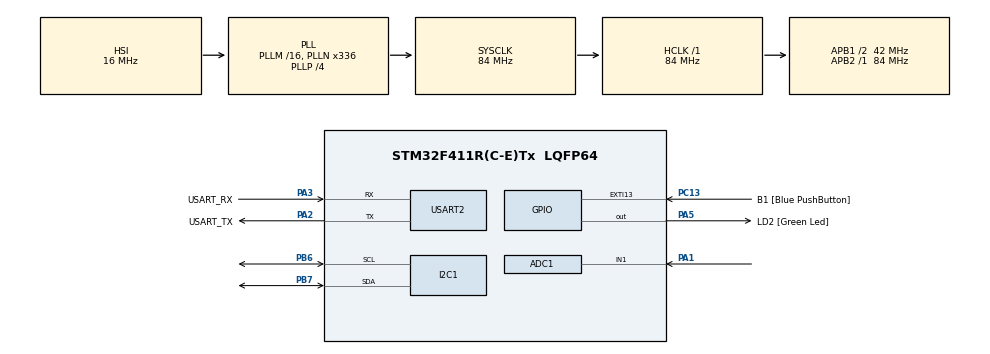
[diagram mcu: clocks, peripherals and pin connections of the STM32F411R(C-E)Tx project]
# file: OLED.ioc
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ADC1.Channel-3\#ChannelRegularConversion=ADC_CHANNEL_1
ADC1.NbrOfConversionFlag=1
ADC1.Rank-3\#ChannelRegularConversion=1
ADC1.SamplingTime-3\#ChannelRegularConversion=ADC_SAMPLETIME_15CYCLES
ADC1.master=1
I2C1.I2C_Mode=I2C_Fast
Mcu.Family=STM32F4
Mcu.Name=STM32F411R(C-E)Tx
Mcu.Package=LQFP64
NVIC.PriorityGroup=NVIC_PRIORITYGROUP_0
PA1.Signal=ADCx_IN1
PA13.GPIO_Label=TMS
PA13.Mode=Serial_Wire
PA13.Signal=SYS_JTMS-SWDIO
PA14.GPIO_Label=TCK
PA14.Mode=Serial_Wire
PA14.Signal=SYS_JTCK-SWCLK
PA2.GPIO_Label=USART_TX
PA2.Mode=Asynchronous
PA2.Signal=USART2_TX
PA3.GPIO_Label=USART_RX
PA3.Mode=Asynchronous
PA3.Signal=USART2_RX
PA5.GPIO_Label=LD2 [Green Led]
PA5.Signal=GPIO_Output
PB3.GPIO_Label=SWO
PB3.Signal=SYS_JTDO-SWO
PB6.Mode=I2C
PB6.Signal=I2C1_SCL
PB7.Mode=I2C
PB7.Signal=I2C1_SDA
PC13-ANTI_TAMP.GPIO_Label=B1 [Blue PushButton]
PC13-ANTI_TAMP.GPIO_ModeDefaultEXTI=GPIO_MODE_IT_FALLING
PC13-ANTI_TAMP.Signal=GPXTI13
PC14-OSC32_IN.Mode=LSE-External-Oscillator
PC14-OSC32_IN.Signal=RCC_OSC32_IN
PC15-OSC32_OUT.Mode=LSE-External-Oscillator
PC15-OSC32_OUT.Signal=RCC_OSC32_OUT
PH0\ -\ OSC_IN.Mode=HSE-External-Clock-Source
PH0\ -\ OSC_IN.Signal=RCC_OSC_IN
PH1\ -\ OSC_OUT.Mode=HSE-External-Clock-Source
PH1\ -\ OSC_OUT.Signal=RCC_OSC_OUT
ProjectManager.HeapSize=0x200
ProjectManager.StackSize=0x400
ProjectManager.TargetToolchain=CMake
RCC.48MHZClocksFreq_Value=84000000
RCC.AHBFreq_Value=84000000
RCC.APB1CLKDivider=RCC_HCLK_DIV2
RCC.APB1Freq_Value=42000000
RCC.APB1TimFreq_Value=84000000
RCC.APB2Freq_Value=84000000
RCC.APB2TimFreq_Value=84000000
RCC.CortexFreq_Value=84000000
RCC.FLatency-AdvancedSettings=FLASH_LATENCY_2
RCC.HCLKFreq_Value=84000000
RCC.HSE_VALUE=8000000
RCC.HSI_VALUE=16000000
RCC.PLLN=336
RCC.PLLP=RCC_PLLP_DIV4
RCC.SYSCLKFreq_VALUE=84000000
RCC.SYSCLKSource=RCC_SYSCLKSOURCE_PLLCLK
RCC.VCOOutputFreq_Value=336000000
SH.ADCx_IN1.0=ADC1_IN1,IN1
USART2.VirtualMode=VM_ASYNC
board=NUCLEO-F411RE

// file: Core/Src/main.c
/* USER CODE BEGIN Header */
/**
  ******************************************************************************
  * @file           : main.c
  * @brief          : Main program body
  ******************************************************************************
  * @attention
  *
  * Copyright (c) 2026 STMicroelectronics.
  * All rights reserved.
  *
  * This software is licensed under terms that can be found in the LICENSE file
  * in the root directory of this software component.
  * If no LICENSE file comes with this software, it is provided AS-IS.
  *
  ******************************************************************************
  */
/* USER CODE END Header */
#include "main.h"

/* USER CODE BEGIN Includes */
#include "ssd1306.h"
#include "ssd1306_tests.h"
#include "ssd1306_fonts.h"
#include <stdio.h>
/* USER CODE END Includes */

ADC_HandleTypeDef hadc1;

I2C_HandleTypeDef hi2c1;

UART_HandleTypeDef huart2;

/* USER CODE BEGIN PV */
uint32_t last_beat_time = 0;
float intervals[10] = {0};
float smoothed_val = 0;
float previous_val = 0;
int rise_count = 0;
int is_rising = 0;

/* USER CODE END PV */

void SystemClock_Config(void);
static void MX_GPIO_Init(void);
static void MX_USART2_UART_Init(void);
static void MX_I2C1_Init(void);
static void MX_ADC1_Init(void);

int main(void)
{

  /* MCU Configuration--------------------------------------------------------*/

  /* Reset of all peripherals, Initializes the Flash interface and the Systick. */
  HAL_Init();

  /* Configure the system clock */
  SystemClock_Config();

  /* Initialize all configured peripherals */
  MX_GPIO_Init();
  MX_USART2_UART_Init();
  MX_I2C1_Init();
  MX_ADC1_Init();
  /* USER CODE BEGIN 2 */
  ssd1306_Init();
  ssd1306_TestDrawBitmap();
  HAL_Delay(300);
  ssd1306_Fill(Black);
  ssd1306_SetCursor(0, 10);
  ssd1306_WriteString("Heart Rate Monitor", Font_7x10, White);

  ssd1306_SetCursor(42, 30);
  ssd1306_WriteString(".", Font_11x18, White);
  ssd1306_UpdateScreen();
  HAL_Delay(500);

  ssd1306_SetCursor(62, 30);
  ssd1306_WriteString(".", Font_11x18, White);
  ssd1306_UpdateScreen();
  HAL_Delay(500);

  ssd1306_SetCursor(82, 30);
  ssd1306_WriteString(".", Font_11x18, White);
  ssd1306_UpdateScreen();
  HAL_Delay(500);

  ssd1306_Fill(Black);
  ssd1306_SetCursor(0, 30);
  ssd1306_WriteString("Initializing...", Font_7x10, White);
  ssd1306_UpdateScreen();
  HAL_Delay(500);
  /* USER CODE END 2 */

  /* Infinite loop */
  while (1)
  {

    /* Inside the while(1) loop */
    //This code is for the Heart Rate Monitor. It reads the ADC value from the pulse sensor, applies filtering and smoothing, detects peaks, calculates BPM, and updates the OLED display.
    // 1. FILTERING: Average samples over 20ms to kill 50Hz/60Hz light flicker
    uint32_t window_start = HAL_GetTick();
    float raw_sum = 0;
    int samples = 0;
    while (HAL_GetTick() - window_start < 20) {
        HAL_ADC_Start(&hadc1);
        if (HAL_ADC_PollForConversion(&hadc1, 1) == HAL_OK) {
            raw_sum += HAL_ADC_GetValue(&hadc1);
            samples++;
        }
    }
    float current_avg = raw_sum / samples;

    // 2. SMOOTHING: Simple Low-Pass Filter (Adjust 0.1 for more/less smoothing)
    // This prevents small jitters from being counted as heartbeats
    smoothed_val = (0.1 * current_avg) + (0.9 * previous_val);

    // 3. PEAK DETECTION: Look for a rising edge
    if (smoothed_val > previous_val) {
        rise_count++;

        // If signal rises for 5 consecutive 20ms blocks, it's a heartbeat
        if (!is_rising && rise_count > 3) {
            uint32_t current_time = HAL_GetTick();
            uint32_t duration = current_time - last_beat_time;

          // Change your PV section to: float intervals[10];
        if(duration > 2000){
          last_beat_time = current_time;
          is_rising = 1;
        }
        else if (duration > 333 && duration < 1333) { // Ignore intervals that are too short or too long to be a heartbeat
            is_rising = 1;
            last_beat_time = current_time;

            // 1. Shift intervals (Moving Average)
            float sum = 0;
            for (int i = 9; i > 0; i--) {
                intervals[i] = intervals[i-1];
                sum += intervals[i];
            }
            intervals[0] = (float)duration;
            sum += intervals[0];

            float average_interval = sum / 10.0;
            float bpm = 60000.0 / average_interval;

            // 2. ONLY update the screen if the change isn't a crazy "glitch"
            // (e.g., if the new BPM is within 20% of the last one displayed)

            // Calculate BPM

            static int display_counter = 0;
            display_counter++;
            if (display_counter>=2) {
                char display_buffer[16];
                sprintf(display_buffer, "HR: %d BPM", (int)bpm);
                ssd1306_Fill(Black);
                ssd1306_SetCursor(0, 30);
                ssd1306_WriteString(display_buffer, Font_11x18, White);
                ssd1306_UpdateScreen();
                display_counter = 0;
            }
        }
      }
    } else {
        // Signal is falling, reset the lock
        is_rising = 0;
        rise_count = 0;
    }

    previous_val = smoothed_val;
  }
}

void SystemClock_Config(void)
{
  RCC_OscInitTypeDef RCC_OscInitStruct = {0};
  RCC_ClkInitTypeDef RCC_ClkInitStruct = {0};

  /** Configure the main internal regulator output voltage
  */
  __HAL_RCC_PWR_CLK_ENABLE();
  __HAL_PWR_VOLTAGESCALING_CONFIG(PWR_REGULATOR_VOLTAGE_SCALE1);

  /** Initializes the RCC Oscillators according to the specified parameters
  * in the RCC_OscInitTypeDef structure.
  */
  RCC_OscInitStruct.OscillatorType = RCC_OSCILLATORTYPE_HSI;
  RCC_OscInitStruct.HSIState = RCC_HSI_ON;
  RCC_OscInitStruct.HSICalibrationValue = RCC_HSICALIBRATION_DEFAULT;
  RCC_OscInitStruct.PLL.PLLState = RCC_PLL_ON;
  RCC_OscInitStruct.PLL.PLLSource = RCC_PLLSOURCE_HSI;
  RCC_OscInitStruct.PLL.PLLM = 16;
  RCC_OscInitStruct.PLL.PLLN = 336;
  RCC_OscInitStruct.PLL.PLLP = RCC_PLLP_DIV4;
  RCC_OscInitStruct.PLL.PLLQ = 4;
  if (HAL_RCC_OscConfig(&RCC_OscInitStruct) != HAL_OK)
  {
    Error_Handler();
  }

  /** Initializes the CPU, AHB and APB buses clocks
  */
  RCC_ClkInitStruct.ClockType = RCC_CLOCKTYPE_HCLK|RCC_CLOCKTYPE_SYSCLK
                              |RCC_CLOCKTYPE_PCLK1|RCC_CLOCKTYPE_PCLK2;
  RCC_ClkInitStruct.SYSCLKSource = RCC_SYSCLKSOURCE_PLLCLK;
  RCC_ClkInitStruct.AHBCLKDivider = RCC_SYSCLK_DIV1;
  RCC_ClkInitStruct.APB1CLKDivider = RCC_HCLK_DIV2;
  RCC_ClkInitStruct.APB2CLKDivider = RCC_HCLK_DIV1;

  if (HAL_RCC_ClockConfig(&RCC_ClkInitStruct, FLASH_LATENCY_2) != HAL_OK)
  {
    Error_Handler();
  }
}

static void MX_ADC1_Init(void)
{

  ADC_ChannelConfTypeDef sConfig = {0};

  /** Configure the global features of the ADC (Clock, Resolution, Data Alignment and number of conversion)
  */
  hadc1.Instance = ADC1;
  hadc1.Init.ClockPrescaler = ADC_CLOCK_SYNC_PCLK_DIV4;
  hadc1.Init.Resolution = ADC_RESOLUTION_12B;
  hadc1.Init.ScanConvMode = DISABLE;
  hadc1.Init.ContinuousConvMode = DISABLE;
  hadc1.Init.DiscontinuousConvMode = DISABLE;
  hadc1.Init.ExternalTrigConvEdge = ADC_EXTERNALTRIGCONVEDGE_NONE;
  hadc1.Init.ExternalTrigConv = ADC_SOFTWARE_START;
  hadc1.Init.DataAlign = ADC_DATAALIGN_RIGHT;
  hadc1.Init.NbrOfConversion = 1;
  hadc1.Init.DMAContinuousRequests = DISABLE;
  hadc1.Init.EOCSelection = ADC_EOC_SINGLE_CONV;
  if (HAL_ADC_Init(&hadc1) != HAL_OK)
  {
    Error_Handler();
  }

  /** Configure for the selected ADC regular channel its corresponding rank in the sequencer and its sample time.
  */
  sConfig.Channel = ADC_CHANNEL_1;
  sConfig.Rank = 1;
  sConfig.SamplingTime = ADC_SAMPLETIME_15CYCLES;
  if (HAL_ADC_ConfigChannel(&hadc1, &sConfig) != HAL_OK)
  {
    Error_Handler();
  }

}

static void MX_I2C1_Init(void)
{

  hi2c1.Instance = I2C1;
  hi2c1.Init.ClockSpeed = 400000;
  hi2c1.Init.DutyCycle = I2C_DUTYCYCLE_2;
  hi2c1.Init.OwnAddress1 = 0;
  hi2c1.Init.AddressingMode = I2C_ADDRESSINGMODE_7BIT;
  hi2c1.Init.DualAddressMode = I2C_DUALADDRESS_DISABLE;
  hi2c1.Init.OwnAddress2 = 0;
  hi2c1.Init.GeneralCallMode = I2C_GENERALCALL_DISABLE;
  hi2c1.Init.NoStretchMode = I2C_NOSTRETCH_DISABLE;
  if (HAL_I2C_Init(&hi2c1) != HAL_OK)
  {
    Error_Handler();
  }

}

static void MX_USART2_UART_Init(void)
{

  huart2.Instance = USART2;
  huart2.Init.BaudRate = 115200;
  huart2.Init.WordLength = UART_WORDLENGTH_8B;
  huart2.Init.StopBits = UART_STOPBITS_1;
  huart2.Init.Parity = UART_PARITY_NONE;
  huart2.Init.Mode = UART_MODE_TX_RX;
  huart2.Init.HwFlowCtl = UART_HWCONTROL_NONE;
  huart2.Init.OverSampling = UART_OVERSAMPLING_16;
  if (HAL_UART_Init(&huart2) != HAL_OK)
  {
    Error_Handler();
  }

}

static void MX_GPIO_Init(void)
{
  GPIO_InitTypeDef GPIO_InitStruct = {0};

  /* GPIO Ports Clock Enable */
  __HAL_RCC_GPIOC_CLK_ENABLE();
  __HAL_RCC_GPIOH_CLK_ENABLE();
  __HAL_RCC_GPIOA_CLK_ENABLE();
  __HAL_RCC_GPIOB_CLK_ENABLE();

  /*Configure GPIO pin Output Level */
  HAL_GPIO_WritePin(LD2_GPIO_Port, LD2_Pin, GPIO_PIN_RESET);

  /*Configure GPIO pin : B1_Pin */
  GPIO_InitStruct.Pin = B1_Pin;
  GPIO_InitStruct.Mode = GPIO_MODE_IT_FALLING;
  GPIO_InitStruct.Pull = GPIO_NOPULL;
  HAL_GPIO_Init(B1_GPIO_Port, &GPIO_InitStruct);

  /*Configure GPIO pin : LD2_Pin */
  GPIO_InitStruct.Pin = LD2_Pin;
  GPIO_InitStruct.Mode = GPIO_MODE_OUTPUT_PP;
  GPIO_InitStruct.Pull = GPIO_NOPULL;
  GPIO_InitStruct.Speed = GPIO_SPEED_FREQ_LOW;
  HAL_GPIO_Init(LD2_GPIO_Port, &GPIO_InitStruct);

}

void Error_Handler(void)
{
  __disable_irq();
  while (1)
  {
  }
}
